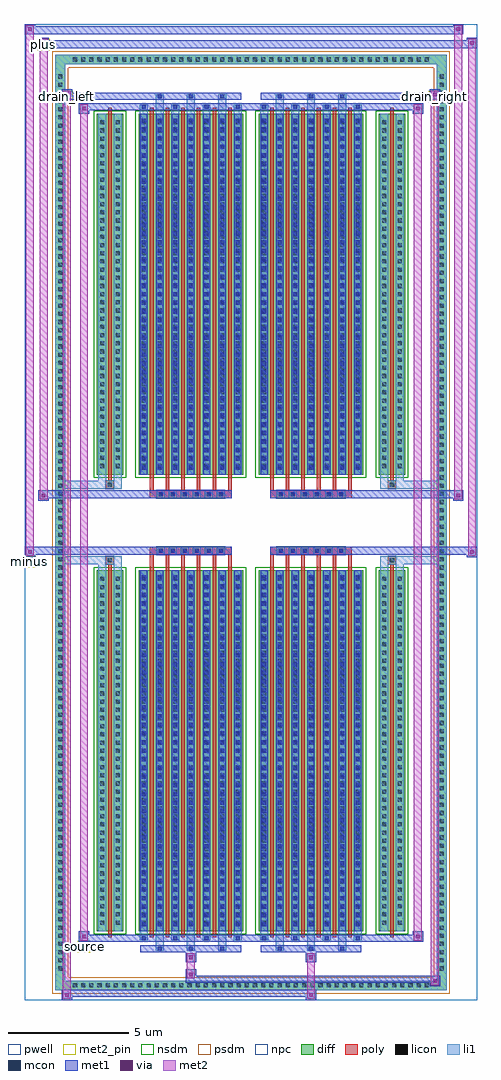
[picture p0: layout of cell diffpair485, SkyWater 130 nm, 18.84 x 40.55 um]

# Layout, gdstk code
import gdstk
lib = gdstk.Library(unit=1e-6, precision=5e-09)
def R(c, l, rs):  # rectangles x0, y0, x1, y1
    for r in rs: c.add(gdstk.rectangle(r[:2], r[2:], *l))
def A(c, l, x, y, w, h, nx, ny, dx, dy):  # array of equal rectangles
    R(c, l, [(x+i*dx, y+j*dy, x+i*dx+w, y+j*dy+h) for i in range(nx) for j in range(ny)])
def P(c, l, *ps):  # polygons
    for p in ps: c.add(gdstk.Polygon(p, *l))
pwell = (64, 44)
diff = (65, 20)
poly = (66, 20)
licon = (66, 44)
li1 = (67, 20)
mcon = (67, 44)
met1 = (68, 20)
via = (68, 44)
met2_pin = (69, 16)
met2 = (69, 20)
nsdm = (93, 44)
psdm = (94, 20)
npc = (95, 20)

diffpair485 = lib.new_cell('diffpair485')
R(diffpair485, pwell, [(-9.4,-19.84,9.4,20.71), (-6.72,-18.03,-0.01,-0.805), (0.01,-18.03,6.72,-0.805), (-6.72,0.805,-0.01,18.03), (0.01,0.805,6.72,18.03)])
A(diffpair485, diff, -7.515, -19.44, 0.41, 0.41, 44, 2, 0.34, 38.47)
A(diffpair485, diff, -8.13, -18.735, 0.41, 0.41, 1, 110, 0, 0.34)
A(diffpair485, diff, 7.72, -18.735, 0.41, 0.41, 1, 110, 0, 0.34)
R(diffpair485, diff, [(-7.515,-19.44,7.515,-19.03), (-8.13,-18.735,-7.72,18.735), (7.72,-18.735,8.13,18.735), (-6.41,-16.985,-5.31,-1.985), (-4.67,-16.985,-0.32,-1.985), (0.32,-16.985,4.67,-1.985), (5.31,-16.985,6.41,-1.985), (-6.41,1.985,-5.31,16.985), (-4.67,1.985,-0.32,16.985), (0.32,1.985,4.67,16.985), (5.31,1.985,6.41,16.985), (-7.515,19.03,7.515,19.44)])
P(diffpair485, diff, [(8.13,19.44),(-8.13,19.44),(-8.13,-19.03),(-7.72,-19.03),(-7.72,19.03),(7.72,19.03),(7.72,-19.03),(-7.72,-19.03),(-8.13,-19.03),(-8.13,-19.44),(8.13,-19.44)])
A(diffpair485, poly, -4.195, -17.235, 0.15, 15.5, 6, 2, 0.65, 18.97)
A(diffpair485, poly, 0.795, -17.235, 0.15, 15.5, 6, 2, 0.65, 18.97)
A(diffpair485, poly, -4.195, -1.735, 0.15, 0.4, 6, 2, 0.65, 3.07)
A(diffpair485, poly, 0.795, -1.735, 0.15, 0.4, 6, 2, 0.65, 3.07)
A(diffpair485, poly, -3.91, -1.335, 0.33, 0.33, 6, 2, 0.5, 2.34)
A(diffpair485, poly, 1.08, -1.335, 0.33, 0.33, 6, 2, 0.5, 2.34)
R(diffpair485, poly, [(-5.935,-17.235,-5.785,-1.735), (5.785,-17.235,5.935,-1.735), (-6.025,-1.735,-5.695,-1.405), (-6.025,-1.735,-5.695,-1.405), (5.695,-1.735,6.025,-1.405), (5.695,-1.735,6.025,-1.405), (-4.195,-1.335,-0.795,-1.005), (0.795,-1.335,4.195,-1.005), (-4.195,1.005,-0.795,1.335), (0.795,1.005,4.195,1.335), (-6.025,1.405,-5.695,1.735), (-6.025,1.405,-5.695,1.735), (5.695,1.405,6.025,1.735), (5.695,1.405,6.025,1.735), (-5.935,1.735,-5.785,17.235), (5.785,1.735,5.935,17.235)])
A(diffpair485, licon, -7.395, -19.32, 0.17, 0.17, 44, 2, 0.34, 38.47)
A(diffpair485, licon, -8.01, -18.615, 0.17, 0.17, 1, 110, 0, 0.34)
A(diffpair485, licon, 7.84, -18.615, 0.17, 0.17, 1, 110, 0, 0.34)
A(diffpair485, licon, -6.27, -16.71, 0.17, 0.17, 1, 43, 0, 0.34)
A(diffpair485, licon, -5.62, -16.71, 0.17, 0.17, 1, 43, 0, 0.34)
A(diffpair485, licon, -4.53, -16.71, 0.17, 0.17, 7, 43, 0.65, 0.34)
A(diffpair485, licon, 0.46, -16.71, 0.17, 0.17, 7, 43, 0.65, 0.34)
A(diffpair485, licon, 5.45, -16.71, 0.17, 0.17, 1, 43, 0, 0.34)
A(diffpair485, licon, 6.1, -16.71, 0.17, 0.17, 1, 43, 0, 0.34)
A(diffpair485, licon, -3.83, -1.255, 0.17, 0.17, 6, 2, 0.5, 2.34)
A(diffpair485, licon, 1.16, -1.255, 0.17, 0.17, 6, 2, 0.5, 2.34)
A(diffpair485, licon, -6.27, 2.26, 0.17, 0.17, 1, 43, 0, 0.34)
A(diffpair485, licon, -5.62, 2.26, 0.17, 0.17, 1, 43, 0, 0.34)
A(diffpair485, licon, -4.53, 2.26, 0.17, 0.17, 7, 43, 0.65, 0.34)
A(diffpair485, licon, 0.46, 2.26, 0.17, 0.17, 7, 43, 0.65, 0.34)
A(diffpair485, licon, 5.45, 2.26, 0.17, 0.17, 1, 43, 0, 0.34)
A(diffpair485, licon, 6.1, 2.26, 0.17, 0.17, 1, 43, 0, 0.34)
R(diffpair485, licon, [(-5.945,-1.655,-5.775,-1.485), (5.775,-1.655,5.945,-1.485), (-5.945,1.485,-5.775,1.655), (5.775,1.485,5.945,1.655)])
A(diffpair485, li1, -7.475, -19.4, 0.33, 0.33, 44, 2, 0.34, 38.47)
A(diffpair485, li1, -8.09, -18.695, 0.33, 0.33, 1, 110, 0, 0.34)
A(diffpair485, li1, 7.76, -18.695, 0.33, 0.33, 1, 110, 0, 0.34)
A(diffpair485, li1, -3.96, -17.79, 0.33, 0.805, 3, 2, 1.3, 34.775)
A(diffpair485, li1, -3.88, -17.79, 0.17, 0.17, 3, 2, 1.3, 35.41)
A(diffpair485, li1, 1.03, -17.79, 0.33, 0.805, 3, 2, 1.3, 34.775)
A(diffpair485, li1, 1.11, -17.79, 0.17, 0.17, 3, 2, 1.3, 35.41)
A(diffpair485, li1, -4.61, -17.36, 0.33, 0.375, 4, 2, 1.3, 34.345)
A(diffpair485, li1, -4.53, -17.36, 0.17, 0.17, 4, 2, 1.3, 34.55)
A(diffpair485, li1, 0.38, -17.36, 0.33, 0.375, 4, 2, 1.3, 34.345)
A(diffpair485, li1, 0.46, -17.36, 0.17, 0.17, 4, 2, 1.3, 34.55)
A(diffpair485, li1, -4.61, -16.985, 0.33, 15, 7, 2, 0.65, 18.97)
A(diffpair485, li1, 0.38, -16.985, 0.33, 15, 7, 2, 0.65, 18.97)
A(diffpair485, li1, -6.35, -16.79, 0.33, 0.33, 1, 43, 0, 0.34)
A(diffpair485, li1, -5.7, -16.79, 0.33, 0.33, 1, 43, 0, 0.34)
A(diffpair485, li1, -4.61, -16.79, 0.33, 0.33, 7, 43, 0.65, 0.34)
A(diffpair485, li1, 0.38, -16.79, 0.33, 0.33, 7, 43, 0.65, 0.34)
A(diffpair485, li1, 5.37, -16.79, 0.33, 0.33, 1, 43, 0, 0.34)
A(diffpair485, li1, 6.02, -16.79, 0.33, 0.33, 1, 43, 0, 0.34)
A(diffpair485, li1, -4.53, -16.77, 0.17, 0.17, 7, 41, 0.65, 0.36)
A(diffpair485, li1, -4.53, -16.77, 0.17, 14.57, 7, 2, 0.65, 18.97)
A(diffpair485, li1, 0.46, -16.77, 0.17, 0.17, 7, 41, 0.65, 0.36)
A(diffpair485, li1, 0.46, -16.77, 0.17, 14.57, 7, 2, 0.65, 18.97)
A(diffpair485, li1, -3.91, -1.335, 0.33, 0.33, 6, 2, 0.5, 2.34)
A(diffpair485, li1, 1.08, -1.335, 0.33, 0.33, 6, 2, 0.5, 2.34)
A(diffpair485, li1, -6.35, 2.18, 0.33, 0.33, 1, 43, 0, 0.34)
A(diffpair485, li1, -5.7, 2.18, 0.33, 0.33, 1, 43, 0, 0.34)
A(diffpair485, li1, -4.61, 2.18, 0.33, 0.33, 7, 43, 0.65, 0.34)
A(diffpair485, li1, 0.38, 2.18, 0.33, 0.33, 7, 43, 0.65, 0.34)
A(diffpair485, li1, 5.37, 2.18, 0.33, 0.33, 1, 43, 0, 0.34)
A(diffpair485, li1, 6.02, 2.18, 0.33, 0.33, 1, 43, 0, 0.34)
A(diffpair485, li1, -4.53, 2.2, 0.17, 0.17, 7, 41, 0.65, 0.36)
A(diffpair485, li1, 0.46, 2.2, 0.17, 0.17, 7, 41, 0.65, 0.36)
R(diffpair485, li1, [(-8.13,-19.44,-7.72,-19.03), (-8.13,-19.44,-7.72,-19.03), (-7.72,-19.44,7.72,-19.03), (7.72,-19.44,8.13,-19.03), (7.72,-19.44,8.13,-19.03), (-8.13,-19.03,-7.72,19.03), (7.72,-19.03,8.13,19.03), (-6.35,-16.985,-6.02,-1.985), (-5.7,-16.985,-5.37,-1.985), (5.37,-16.985,5.7,-1.985), (6.02,-16.985,6.35,-1.985), (-6.35,-1.985,-6.02,-1.405), (-5.7,-1.985,-5.37,-1.405), (5.37,-1.985,5.7,-1.405), (6.02,-1.985,6.35,-1.405), (-8.13,-1.735,-6.025,-1.405), (-6.35,-1.735,-6.025,-1.405), (-6.025,-1.735,-5.695,-1.405), (-5.695,-1.735,-5.37,-1.405), (5.37,-1.735,5.695,-1.405), (5.695,-1.735,6.025,-1.405), (5.695,-1.735,8.13,-1.405), (6.025,-1.735,6.35,-1.405), (-8.13,1.405,-6.025,1.735), (-6.35,1.405,-6.025,1.735), (-6.35,1.405,-6.02,1.985), (-6.025,1.405,-5.695,1.735), (-5.7,1.405,-5.37,1.985), (-5.695,1.405,-5.37,1.735), (5.37,1.405,5.695,1.735), (5.37,1.405,5.7,1.985), (5.695,1.405,6.025,1.735), (5.695,1.405,8.13,1.735), (6.02,1.405,6.35,1.985), (6.025,1.405,6.35,1.735), (-6.35,1.985,-6.02,16.985), (-5.7,1.985,-5.37,16.985), (5.37,1.985,5.7,16.985), (6.02,1.985,6.35,16.985), (-8.13,19.03,-7.72,19.44), (-8.13,19.03,-7.72,19.44), (-7.72,19.03,7.72,19.44), (7.72,19.03,8.13,19.44), (7.72,19.03,8.13,19.44)])
A(diffpair485, mcon, -3.88, -17.79, 0.17, 0.17, 3, 2, 1.3, 35.41)
A(diffpair485, mcon, 1.11, -17.79, 0.17, 0.17, 3, 2, 1.3, 35.41)
A(diffpair485, mcon, -4.53, -17.36, 0.17, 0.17, 4, 2, 1.3, 34.55)
A(diffpair485, mcon, 0.46, -17.36, 0.17, 0.17, 4, 2, 1.3, 34.55)
A(diffpair485, mcon, -4.53, -16.77, 0.17, 0.17, 7, 41, 0.65, 0.36)
A(diffpair485, mcon, 0.46, -16.77, 0.17, 0.17, 7, 41, 0.65, 0.36)
A(diffpair485, mcon, -3.83, -1.255, 0.17, 0.17, 6, 2, 0.5, 2.34)
A(diffpair485, mcon, 1.16, -1.255, 0.17, 0.17, 6, 2, 0.5, 2.34)
A(diffpair485, mcon, -4.53, 2.2, 0.17, 0.17, 7, 41, 0.65, 0.36)
A(diffpair485, mcon, 0.46, 2.2, 0.17, 0.17, 7, 41, 0.65, 0.36)
A(diffpair485, met1, -3.94, -17.85, 0.29, 0.29, 3, 2, 1.3, 35.41)
A(diffpair485, met1, 1.05, -17.85, 0.29, 0.29, 3, 2, 1.3, 35.41)
A(diffpair485, met1, -4.59, -17.42, 0.29, 0.29, 4, 2, 1.3, 34.55)
A(diffpair485, met1, 0.4, -17.42, 0.29, 0.29, 4, 2, 1.3, 34.55)
A(diffpair485, met1, -4.59, -16.985, 0.29, 15, 7, 2, 0.65, 18.97)
A(diffpair485, met1, 0.4, -16.985, 0.29, 15, 7, 2, 0.65, 18.97)
A(diffpair485, met1, -4.59, -16.83, 0.29, 0.29, 7, 41, 0.65, 0.36)
A(diffpair485, met1, 0.4, -16.83, 0.29, 0.29, 7, 41, 0.65, 0.36)
A(diffpair485, met1, -3.89, -1.315, 0.29, 0.29, 6, 2, 0.5, 2.34)
A(diffpair485, met1, 1.1, -1.315, 0.29, 0.29, 6, 2, 0.5, 2.34)
A(diffpair485, met1, -4.59, 2.14, 0.29, 0.29, 7, 41, 0.65, 0.36)
A(diffpair485, met1, 0.4, 2.14, 0.29, 0.29, 7, 41, 0.65, 0.36)
R(diffpair485, met1, [(-7.86,-19.84,-7.43,-19.41), (2.28,-19.84,2.71,-19.41), (-7.86,-19.7,2.71,-19.41), (7.43,-19.27,7.86,-18.84), (-2.71,-19.13,7.86,-18.84), (-2.71,-18.99,-2.28,-18.56), (-2.71,-18.28,-2.28,-17.85), (2.28,-18.28,2.71,-17.85), (-4.59,-17.85,-0.4,-17.56), (0.4,-17.85,4.59,-17.56), (-7.15,-17.42,-6.72,-16.99), (-7.15,-17.42,-4.59,-17.13), (-4.59,-17.42,-0.4,-17.13), (-0.4,-17.42,0.4,-17.13), (0.4,-17.42,4.59,-17.13), (4.59,-17.42,7.15,-17.13), (6.72,-17.42,7.15,-16.99), (-9.4,-1.435,-8.97,-1.005), (8.97,-1.435,9.4,-1.005), (-9.4,-1.335,-0.795,-1.005), (-4.195,-1.335,-0.795,-1.005), (0.795,-1.335,4.195,-1.005), (0.795,-1.335,9.4,-1.005), (-8.83,0.905,-8.4,1.335), (8.4,0.905,8.83,1.335), (-8.83,1.005,-4.195,1.335), (-4.195,1.005,-0.795,1.335), (0.795,1.005,4.195,1.335), (4.195,1.005,8.83,1.335), (-7.15,16.99,-6.72,17.42), (6.72,16.99,7.15,17.42), (-7.15,17.13,-4.59,17.42), (-4.59,17.13,-0.4,17.42), (-0.4,17.13,0.4,17.42), (0.4,17.13,4.59,17.42), (4.59,17.13,7.15,17.42), (-7.86,17.56,-7.43,17.99), (-7.86,17.56,-4.59,17.85), (-4.59,17.56,-0.4,17.85), (0.4,17.56,4.59,17.85), (4.59,17.56,7.86,17.85), (7.43,17.56,7.86,17.99), (-8.83,19.71,-8.4,20.14), (-8.83,19.71,-6.72,20.04), (-6.72,19.71,6.72,20.04), (6.72,19.71,9.4,20.04), (8.97,19.71,9.4,20.14), (-9.4,20.28,-8.97,20.71), (-9.4,20.28,-6.72,20.61), (-6.72,20.28,6.72,20.61), (6.72,20.28,8.83,20.61), (8.4,20.28,8.83,20.71)])
R(diffpair485, via, [(-7.72,-19.7,-7.57,-19.55), (2.42,-19.7,2.57,-19.55), (7.57,-19.13,7.72,-18.98), (-2.57,-18.85,-2.42,-18.7), (-2.57,-18.14,-2.42,-17.99), (2.42,-18.14,2.57,-17.99), (-7.01,-17.28,-6.86,-17.13), (6.86,-17.28,7.01,-17.13), (-9.26,-1.295,-9.11,-1.145), (9.11,-1.295,9.26,-1.145), (-8.69,1.045,-8.54,1.195), (8.54,1.045,8.69,1.195), (-7.01,17.13,-6.86,17.28), (6.86,17.13,7.01,17.28), (-7.72,17.7,-7.57,17.85), (7.57,17.7,7.72,17.85), (-8.69,19.85,-8.54,20), (9.11,19.85,9.26,20), (-9.26,20.42,-9.11,20.57), (8.54,20.42,8.69,20.57)])
R(diffpair485, met2_pin, [(-7.185,-17.87,-6.685,-17.37), (-9.435,-1.885,-8.935,-1.385), (-7.895,17.44,-7.395,17.94), (7.395,17.44,7.895,17.94), (-8.865,19.59,-8.365,20.09)])
R(diffpair485, met2, [(-7.81,-19.79,-7.48,-19.46), (-7.81,-19.79,-7.48,17.94), (2.33,-19.79,2.66,-19.46), (2.33,-19.46,2.66,-18.23), (7.48,-19.22,7.81,-18.89), (7.48,-19.22,7.81,17.94), (-2.66,-18.94,-2.33,-18.61), (-2.66,-18.61,-2.33,-18.23), (-2.66,-18.23,-2.33,-17.9), (2.33,-18.23,2.66,-17.9), (-7.1,-17.37,-6.77,-17.04), (-7.1,-17.37,-6.77,17.37), (6.77,-17.37,7.1,-17.04), (6.77,-17.37,7.1,17.37), (-9.35,-1.385,-9.02,-1.055), (-9.35,-1.385,-9.02,20.66), (9.02,-1.385,9.35,-1.055), (9.02,-1.385,9.35,20.09), (-8.78,0.955,-8.45,1.285), (-8.78,0.955,-8.45,20.09), (8.45,0.955,8.78,1.285), (8.45,0.955,8.78,20.66), (-7.1,17.04,-6.77,17.37), (6.77,17.04,7.1,17.37), (-7.81,17.61,-7.48,17.94), (7.48,17.61,7.81,17.94), (-8.78,19.76,-8.45,20.09), (9.02,19.76,9.35,20.09), (-9.35,20.33,-9.02,20.66), (8.45,20.33,8.78,20.66)])
P(diffpair485, met2, [(9.35,-1.385),(9.35,-1.385),(9.35,-1.055),(9.35,-1.055)],
  [(9.35,19.76),(9.35,19.76),(9.35,20.09),(9.35,20.09)],
  [(-9.02,-1.385),(-9.02,-1.385),(-9.02,-1.055),(-9.02,-1.055)],
  [(-9.02,20.33),(-9.02,20.33),(-9.02,20.66),(-9.02,20.66)],
  [(8.78,0.955),(8.78,0.955),(8.78,1.285),(8.78,1.285)],
  [(8.78,20.33),(8.78,20.33),(8.78,20.66),(8.78,20.66)],
  [(-8.45,0.955),(-8.45,0.955),(-8.45,1.285),(-8.45,1.285)],
  [(-8.45,19.76),(-8.45,19.76),(-8.45,20.09),(-8.45,20.09)],
  [(-7.48,-19.79),(-7.48,-19.79),(-7.48,-19.46),(-7.48,-19.46)],
  [(-7.48,17.61),(-7.48,17.61),(-7.48,17.94),(-7.48,17.94)],
  [(7.81,-19.22),(7.81,-19.22),(7.81,-18.89),(7.81,-18.89)],
  [(7.81,17.61),(7.81,17.61),(7.81,17.94),(7.81,17.94)],
  [(-6.77,-17.37),(-6.77,-17.37),(-6.77,-17.04),(-6.77,-17.04)],
  [(-6.77,17.04),(-6.77,17.04),(-6.77,17.37),(-6.77,17.37)],
  [(7.1,-17.37),(7.1,-17.37),(7.1,-17.04),(7.1,-17.04)],
  [(7.1,17.04),(7.1,17.04),(7.1,17.37),(7.1,17.37)])
R(diffpair485, nsdm, [(-6.54,-17.115,-5.18,-1.855), (-4.8,-17.115,-0.19,-1.855), (0.19,-17.115,4.8,-1.855), (5.18,-17.115,6.54,-1.855), (-6.54,1.855,-5.18,17.115), (-4.8,1.855,-0.19,17.115), (0.19,1.855,4.8,17.115), (5.18,1.855,6.54,17.115)])
P(diffpair485, psdm, [(8.26,19.57),(-8.26,19.57),(-8.26,-18.9),(-7.59,-18.9),(-7.59,18.9),(7.59,18.9),(7.59,-18.9),(-7.59,-18.9),(-8.26,-18.9),(-8.26,-19.57),(8.26,-19.57)])
A(diffpair485, npc, -3.93, -1.355, 0.37, 0.37, 6, 2, 0.5, 2.34)
A(diffpair485, npc, 1.06, -1.355, 0.37, 0.37, 6, 2, 0.5, 2.34)
R(diffpair485, npc, [(-6.045,-1.755,-5.675,-1.385), (5.675,-1.755,6.045,-1.385), (-3.93,-1.355,-3.06,-0.985), (-3.93,-1.355,-3.06,-0.985), (-3.43,-1.355,-2.56,-0.985), (-3.43,-1.355,-2.56,-0.985), (-2.93,-1.355,-2.06,-0.985), (-2.93,-1.355,-2.06,-0.985), (-2.43,-1.355,-1.56,-0.985), (-2.43,-1.355,-1.56,-0.985), (-1.93,-1.355,-1.06,-0.985), (-1.93,-1.355,-1.06,-0.985), (1.06,-1.355,1.93,-0.985), (1.06,-1.355,1.93,-0.985), (1.56,-1.355,2.43,-0.985), (1.56,-1.355,2.43,-0.985), (2.06,-1.355,2.93,-0.985), (2.06,-1.355,2.93,-0.985), (2.56,-1.355,3.43,-0.985), (2.56,-1.355,3.43,-0.985), (3.06,-1.355,3.93,-0.985), (3.06,-1.355,3.93,-0.985), (-3.93,0.985,-3.06,1.355), (-3.93,0.985,-3.06,1.355), (-3.43,0.985,-2.56,1.355), (-3.43,0.985,-2.56,1.355), (-2.93,0.985,-2.06,1.355), (-2.93,0.985,-2.06,1.355), (-2.43,0.985,-1.56,1.355), (-2.43,0.985,-1.56,1.355), (-1.93,0.985,-1.06,1.355), (-1.93,0.985,-1.06,1.355), (1.06,0.985,1.93,1.355), (1.06,0.985,1.93,1.355), (1.56,0.985,2.43,1.355), (1.56,0.985,2.43,1.355), (2.06,0.985,2.93,1.355), (2.06,0.985,2.93,1.355), (2.56,0.985,3.43,1.355), (2.56,0.985,3.43,1.355), (3.06,0.985,3.93,1.355), (3.06,0.985,3.93,1.355), (-6.045,1.385,-5.675,1.755), (5.675,1.385,6.045,1.755)])
diffpair485.add(gdstk.Label('minus', (-9.185,-1.635), layer=69, texttype=5))
diffpair485.add(gdstk.Label('drain_right', (7.645,17.69), layer=69, texttype=5))
diffpair485.add(gdstk.Label('drain_left', (-7.645,17.69), layer=69, texttype=5))
diffpair485.add(gdstk.Label('source', (-6.935,-17.62), layer=69, texttype=5))
diffpair485.add(gdstk.Label('plus', (-8.615,19.84), layer=69, texttype=5))

lib.write_gds('diffpair485.gds')
